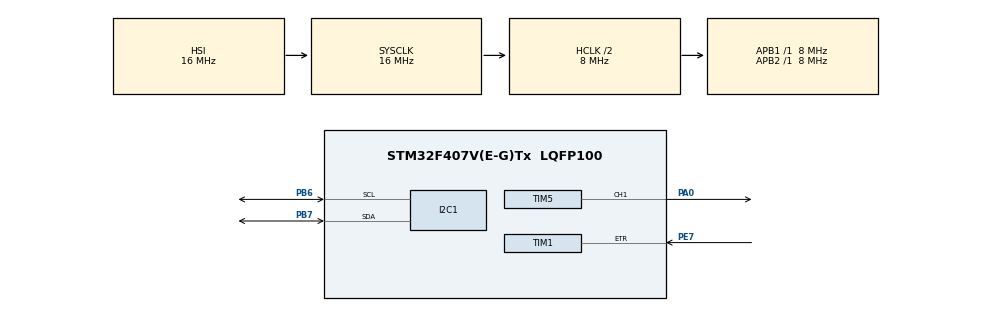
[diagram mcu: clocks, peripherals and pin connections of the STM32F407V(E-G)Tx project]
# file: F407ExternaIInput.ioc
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Mcu.Family=STM32F4
Mcu.Name=STM32F407V(E-G)Tx
Mcu.Package=LQFP100
NVIC.PriorityGroup=NVIC_PRIORITYGROUP_4
PA0-WKUP.Signal=S_TIM5_CH1
PB6.Mode=I2C
PB6.Signal=I2C1_SCL
PB7.Mode=I2C
PB7.Signal=I2C1_SDA
PE7.Signal=S_TIM1_ETR
ProjectManager.HeapSize=0x200
ProjectManager.StackSize=0x400
ProjectManager.TargetToolchain=STM32CubeIDE
RCC.AHBCLKDivider=RCC_SYSCLK_DIV2
RCC.AHBFreq_Value=8000000
RCC.APB1Freq_Value=8000000
RCC.APB1TimFreq_Value=8000000
RCC.APB2Freq_Value=8000000
RCC.APB2TimFreq_Value=8000000
RCC.CortexFreq_Value=8000000
RCC.HCLKFreq_Value=8000000
RCC.HSE_VALUE=25000000
RCC.HSI_VALUE=16000000
RCC.LSE_VALUE=32768
RCC.SYSCLKFreq_VALUE=16000000
RCC.VCOOutputFreq_Value=192000000
SH.S_TIM1_ETR.0=TIM1_ETR,ClockSourceETR_Mode2
SH.S_TIM5_CH1.0=TIM5_CH1,PWM Generation1 CH1
TIM1.ClockFilter=15
TIM1.TIM_MasterOutputTrigger=TIM_TRGO_RESET
TIM1.TIM_MasterSlaveMode=TIM_MASTERSLAVEMODE_DISABLE
TIM5.AutoReloadPreload=TIM_AUTORELOAD_PRELOAD_ENABLE
TIM5.Channel-PWM\ Generation1\ CH1=TIM_CHANNEL_1
TIM5.OC1Preload_PWM=DISABLE
TIM5.OCPolarity_1=TIM_OCPOLARITY_LOW
TIM5.Period=800-1
TIM5.Prescaler=10000-1
TIM5.Pulse-PWM\ Generation1\ CH1=0
VP_TIM5_VS_ClockSourceINT.Mode=Internal
board=custom

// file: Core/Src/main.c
/* USER CODE BEGIN Header */
/**
  ******************************************************************************
  * @file           : main.c
  * @brief          : Main program body
  ******************************************************************************
  * @attention
  *
  * Copyright (c) 2024 STMicroelectronics.
  * All rights reserved.
  *
  * This software is licensed under terms that can be found in the LICENSE file
  * in the root directory of this software component.
  * If no LICENSE file comes with this software, it is provided AS-IS.
  *
  ******************************************************************************
  */
/* USER CODE END Header */
#include "main.h"
#include "i2c.h"
#include "tim.h"
#include "gpio.h"

/* USER CODE BEGIN Includes */
#include "oled.h"
#include <stdio.h>
/* USER CODE END Includes */

void SystemClock_Config(void);

int main(void)
{

  /* MCU Configuration--------------------------------------------------------*/

  /* Reset of all peripherals, Initializes the Flash interface and the Systick. */
  HAL_Init();

  /* Configure the system clock */
  SystemClock_Config();

  /* Initialize all configured peripherals */
  MX_GPIO_Init();
  MX_I2C1_Init();
  MX_TIM1_Init();
  MX_TIM5_Init();
  /* USER CODE BEGIN 2 */
  HAL_Delay(20);
  OLED_Init();
  HAL_TIM_Base_Start(&htim1);
  HAL_TIM_PWM_Start(&htim5, TIM_CHANNEL_1);
  int counter =0;
  char message[20] = "";
  /* USER CODE END 2 */

  /* Infinite loop */
  /* USER CODE BEGIN WHILE */
  while (1)
  {
	  OLED_NewFrame();

	  __HAL_TIM_SetCompare(&htim5, TIM_CHANNEL_1, 700);
	  counter = __HAL_TIM_GET_COUNTER(&htim1);
	  sprintf(message, "counter: %d", counter);
	  OLED_PrintString(0, 0, message, &font16x16, OLED_COLOR_NORMAL);

	  OLED_ShowFrame();
	  HAL_Delay(100);
    /* USER CODE END WHILE */

  }
}

void SystemClock_Config(void)
{
  RCC_OscInitTypeDef RCC_OscInitStruct = {0};
  RCC_ClkInitTypeDef RCC_ClkInitStruct = {0};

  /** Configure the main internal regulator output voltage
  */
  __HAL_RCC_PWR_CLK_ENABLE();
  __HAL_PWR_VOLTAGESCALING_CONFIG(PWR_REGULATOR_VOLTAGE_SCALE1);

  /** Initializes the RCC Oscillators according to the specified parameters
  * in the RCC_OscInitTypeDef structure.
  */
  RCC_OscInitStruct.OscillatorType = RCC_OSCILLATORTYPE_HSI;
  RCC_OscInitStruct.HSIState = RCC_HSI_ON;
  RCC_OscInitStruct.HSICalibrationValue = RCC_HSICALIBRATION_DEFAULT;
  RCC_OscInitStruct.PLL.PLLState = RCC_PLL_NONE;
  if (HAL_RCC_OscConfig(&RCC_OscInitStruct) != HAL_OK)
  {
    Error_Handler();
  }

  /** Initializes the CPU, AHB and APB buses clocks
  */
  RCC_ClkInitStruct.ClockType = RCC_CLOCKTYPE_HCLK|RCC_CLOCKTYPE_SYSCLK
                              |RCC_CLOCKTYPE_PCLK1|RCC_CLOCKTYPE_PCLK2;
  RCC_ClkInitStruct.SYSCLKSource = RCC_SYSCLKSOURCE_HSI;
  RCC_ClkInitStruct.AHBCLKDivider = RCC_SYSCLK_DIV2;
  RCC_ClkInitStruct.APB1CLKDivider = RCC_HCLK_DIV1;
  RCC_ClkInitStruct.APB2CLKDivider = RCC_HCLK_DIV1;

  if (HAL_RCC_ClockConfig(&RCC_ClkInitStruct, FLASH_LATENCY_0) != HAL_OK)
  {
    Error_Handler();
  }
}

void Error_Handler(void)
{
  __disable_irq();
  while (1)
  {
  }
}
